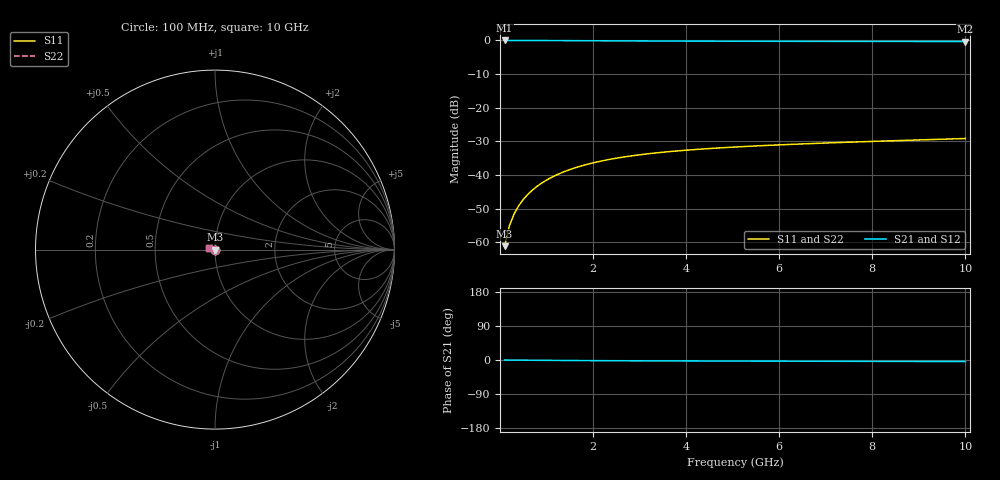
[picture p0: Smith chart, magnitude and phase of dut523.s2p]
! Touchstone file exported from HFSS 2024.1.0
!  File:  C:/UserFiles/LocalFiles/RDL_TSV_Batchsim/temp_TSV1_523_1779703642.aedt
!  Generated:  06:12:49 PM May 25, 2026
!  Design:  TSV1
!  Project:  temp_TSV1_523_1779703642
!  Setup:  Setup1
!  Solution:  Sweep
! Variables:
!  dtsv = 9.83um
!  hbump = 3um
!  htsv = 60.62um
!  lrdl = 252.1521522um
!  p = 40
!  p1 = 57.16um
!  t = 500um
!  trdl = 3um
!  wrdl = 24.89489489um
# GHz S MA R 50.000000
! Terminal data exported
! Port[1] = TSV22_T1
! Port[2] = TSV22_T2
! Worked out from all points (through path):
!   100 points, 100 MHz to 10 GHz, reference 50 ohm
!   highest |S21| = 0.00 dB at 100 MHz (marker M1); lowest = -0.3 dB at 10 GHz (marker M2)
!   lowest |S11| = -61.2 dB at 100 MHz (marker M3), VSWR 1.00, Z = 50 - j0.0869 ohm
!   |S11| at or under -10 dB: start of sweep to end of sweep
!   |S22| runs from -61.2 to -29.2 dB; largest |S21 - S12| = 3e-15
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0.1  0.0008735 -83.8  0.9998 -0.1  0.9998 -0.1  0.0008735 -83.8
! Gamma 0 0 0 0
! Port Impedance 50 0 50 0
0.2  0.001737 -89.9  0.9997 -0.2  0.9997 -0.2  0.001737 -89.9
0.3  0.002602 -93.4  0.9995 -0.3  0.9995 -0.3  0.002602 -93.4
0.4  0.003463 -96.2  0.9993 -0.4  0.9993 -0.4  0.003463 -96.2
0.5  0.004315 -98.8  0.999 -0.5  0.999 -0.5  0.004315 -98.8
0.6  0.005158 -101.2  0.9987 -0.6  0.9987 -0.6  0.005158 -101.2
0.7  0.005987 -103.5  0.9983 -0.7  0.9983 -0.7  0.005987 -103.5
0.8  0.006803 -105.7  0.9978 -0.8  0.9978 -0.8  0.006803 -105.7
0.9  0.007602 -107.9  0.9973 -0.9  0.9973 -0.9  0.007603 -107.9
1.1  0.00915 -112.1  0.9962 -1.0  0.9962 -1.0  0.00915 -112.1
1.4  0.01133 -118.1  0.9943 -1.3  0.9943 -1.3  0.01133 -118.1
1.6  0.01268 -121.8  0.9929 -1.4  0.9929 -1.4  0.01268 -121.8
1.8  0.01394 -125.5  0.9915 -1.5  0.9915 -1.5  0.01394 -125.5
2.1  0.01569 -130.6  0.9894 -1.7  0.9894 -1.7  0.01569 -130.6
2.5  0.01775 -137.0  0.9866 -1.9  0.9866 -1.9  0.01775 -137.0
2.9  0.01953 -142.8  0.984 -2.1  0.984 -2.1  0.01953 -142.8
3.4  0.02143 -149.4  0.981 -2.3  0.981 -2.3  0.02143 -149.4
4.2  0.02391 -158.6  0.9771 -2.6  0.9771 -2.6  0.02391 -158.6
5.1  0.02614 -167.4  0.9736 -2.8  0.9736 -2.8  0.02614 -167.4
6.7  0.02931 179.9  0.9694 -3.3  0.9694 -3.3  0.02931 179.9
8.4  0.03221 169.2  0.9665 -3.7  0.9665 -3.7  0.03221 169.2
10  0.03481 160.8  0.9647 -4.2  0.9647 -4.2  0.03481 160.8
